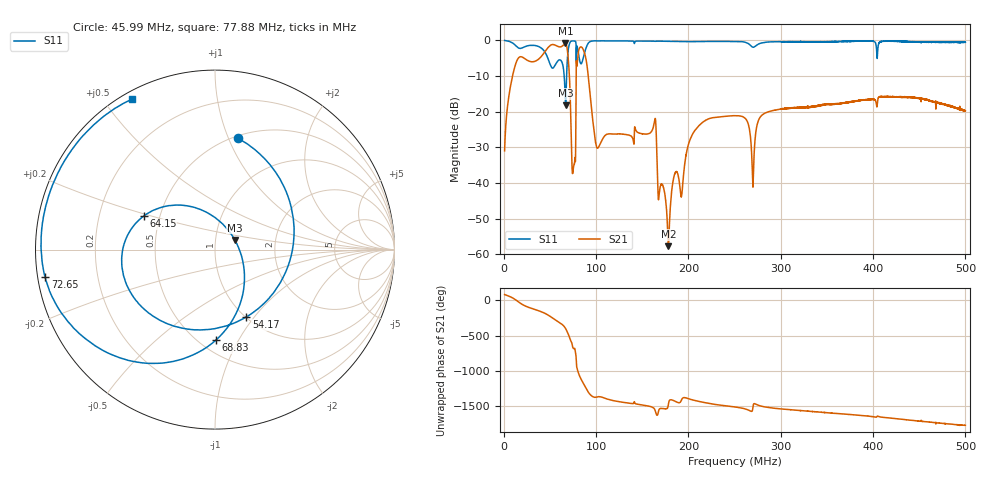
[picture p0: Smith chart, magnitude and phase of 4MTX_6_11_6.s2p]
! NanoVNA-App
! Date: 2026-08-18 21:55:25
! Start: 1MHz Stop: 500MHz Points: 6401
! S-Parameter data: F S11 S21 S12 S22
# Hz S RI R 50
!  Frequency  S11_Real  S11_Imag  S21_Real  S21_Imag  S12_Real  S12_Imag  S22_Real  S22_Imag
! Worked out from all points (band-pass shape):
!   6401 points, 1 MHz to 500 MHz, reference 50 ohm
!   highest |S21| = -0.89 dB at 66.81 MHz (marker M1); lowest = -57.7 dB at 178.3 MHz (marker M2)
!   |S21| within 3 dB of the highest: 42.84 MHz to 69.43 MHz (26.59 MHz wide, 47.4 % of centre); 80.56 MHz to 87.85 MHz (7.293 MHz wide, 8.66 % of centre)
!   lowest |S11| = -18.2 dB at 67.12 MHz (marker M3), VSWR 1.28, Z = 62 + j6.77 ohm
!   |S11| at or under -10 dB: 65.52 MHz to 68.14 MHz (2.619 MHz wide, 3.92 % of centre)
!   S12 and S22 are empty: the file has one direction only
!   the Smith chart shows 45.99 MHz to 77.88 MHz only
!   S11 on the Smith chart (normalised r, x): 45.99 MHz: 0.52, +1.08; 54.17 MHz: 1.01, -0.91; 64.15 MHz: 0.41, +0.19; 68.83 MHz: 0.60, -0.81; 72.65 MHz: 0.02, -0.08; 77.88 MHz: 0.03, +0.59
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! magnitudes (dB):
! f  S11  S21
! 1 MHz  -0.1  -31.0
! 14.49 MHz  -1.9  -5.6
! 45.99 MHz  -4.0  -2.8
! 54.17 MHz  -7.7  -1.3
! 64.15 MHz  -7.1  -1.5
! 66.81 MHz  -17.2  -0.9
! 67.12 MHz  -18.2  -0.9
! 68.83 MHz  -6.0  -2.6
! 72.65 MHz  -0.4  -21.9
! 75.54 MHz  -0.2  -35.6
! 77.88 MHz  -0.4  -31.7
! 84.19 MHz  -6.6  -1.9
! 101.2 MHz  -0.2  -30.2
! 162.7 MHz  -0.3  -23.6
! 167.4 MHz  -0.3  -44.3
! 178.3 MHz  -0.3  -57.7
! 205.8 MHz  -0.4  -25.8
! 250.5 MHz  -0.4  -21.2
! 269.9 MHz  -2.0  -41.2
! 333.7 MHz  -0.5  -18.6
! 416.9 MHz  -0.3  -15.8
! 500 MHz  -0.6  -19.8
